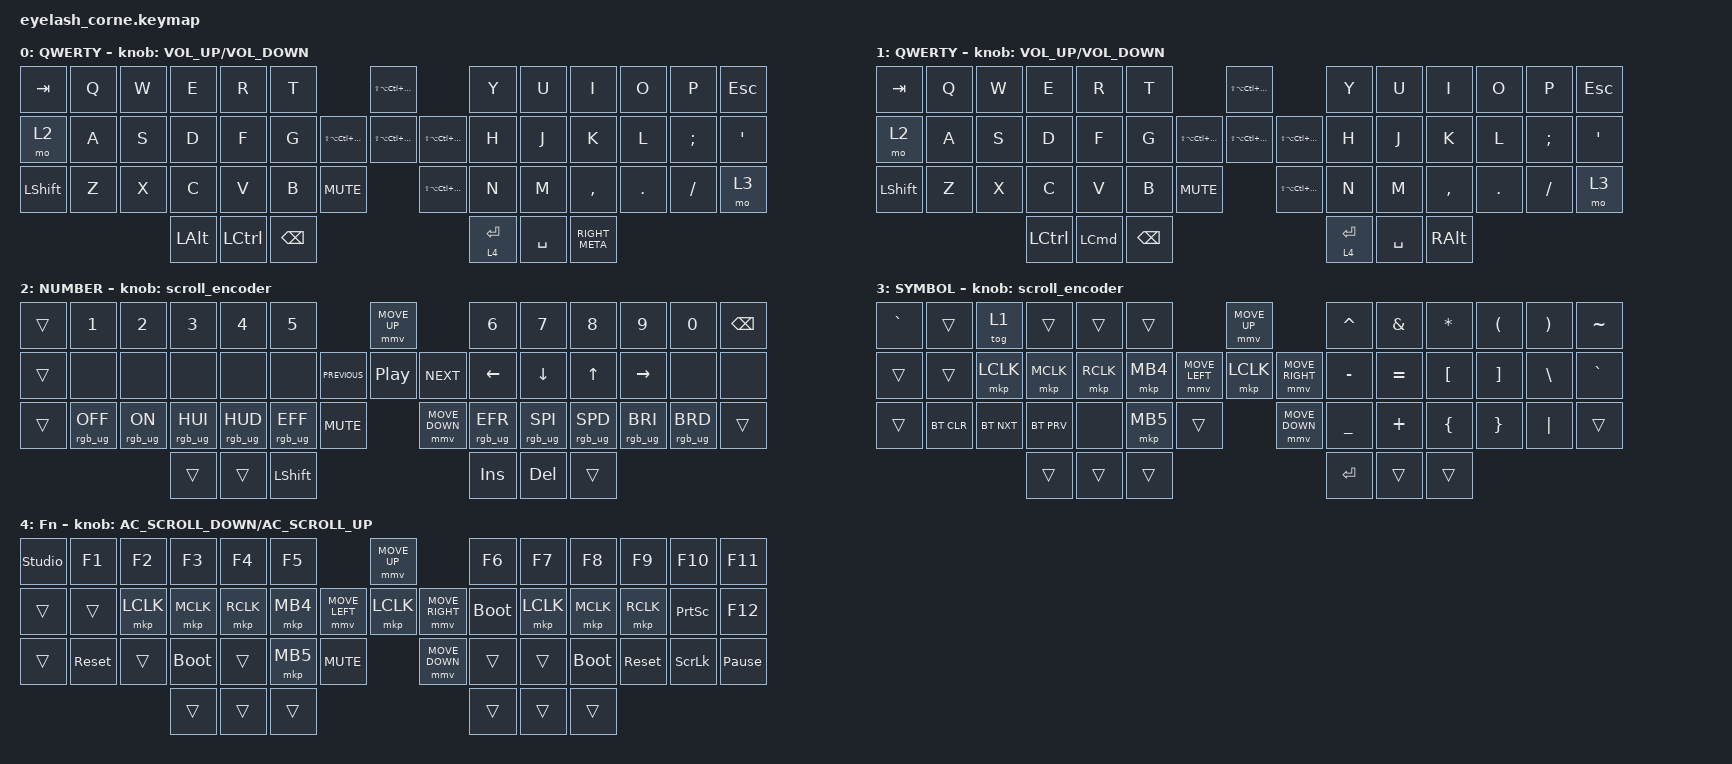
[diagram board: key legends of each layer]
#include <dt-bindings/zmk/mouse.h>
#include <input/processors.dtsi>
#include <behaviors.dtsi>
#include <dt-bindings/zmk/bt.h>
#include <dt-bindings/zmk/keys.h>
#include <dt-bindings/zmk/pointing.h>
#include <dt-bindings/zmk/rgb.h>

/*

   &mmv_input_listener {
       input-processors = <&zip_xy_scaler 2 1>;
   };

   &msc_input_listener {
       input-processors = <&zip_xy_scaler 2 1>;
   };

 */

#define ZMK_MOUSE_DEFAULT_MOVE_VAL 1200  // 600
#define ZMK_MOUSE_DEFAULT_SCRL_VAL 20    // 10

/ {
    behaviors {
        td0: td0 {
            compatible = "zmk,behavior-tap-dance";
            display-name = "Shift/Caps Lock Tap Dance";
            #binding-cells = <0>;
            bindings = <&kp LEFT_SHIFT>, <&kp CAPS>;
        };
    };

    rgb_encoder: rgb_encoder {
        compatible = "zmk,behavior-sensor-rotate";
        #sensor-binding-cells = <0>;
        bindings = <&rgb_ug RGB_BRI>, <&rgb_ug RGB_BRD>;
    };

    scroll_encoder: scroll_encoder {
        compatible = "zmk,behavior-sensor-rotate";
        #sensor-binding-cells = <0>;
        bindings = <&msc SCRL_DOWN>, <&msc SCRL_UP>;

        tap-ms = <30>;
    };

    macros {
        hyperkey1: hyperkey1 {
            compatible = "zmk,behavior-macro";
            #binding-cells = <0>;
            bindings = <&kp LS(LA(LC(LG(F1))))>;
            label = "HYPERKEY1";
        };
    };

    combos {
        compatible = "zmk,combos";

        macwin {
            bindings = <&tog 1>;
            key-positions = <41 1>;
        };
    };

    keymap {
        compatible = "zmk,keymap";

        mac {
            display-name = "QWERTY";
            bindings = <
&kp TAB         &kp Q  &kp W  &kp E         &kp R             &kp T                                                &kp LS(LA(LC(LG(F5))))                           &kp Y        &kp U      &kp I           &kp O    &kp P     &kp ESCAPE
&mo 2           &kp A  &kp S  &kp D         &kp F             &kp G                        &kp LS(LA(LC(LG(F2))))  &kp LS(LA(LC(LG(F1))))  &kp LS(LA(LC(LG(F16))))  &kp H        &kp J      &kp K           &kp L    &kp SEMI  &kp SQT
&kp LEFT_SHIFT  &kp Z  &kp X  &kp C         &kp V             &kp B          &kp C_MUTE                            &kp LS(LA(LC(LG(F4))))                           &kp N        &kp M      &kp COMMA       &kp DOT  &kp FSLH  &mo 3
                              &kp LEFT_ALT  &kp LEFT_CONTROL  &kp BACKSPACE                                                                                         &lt 4 ENTER  &kp SPACE  &kp RIGHT_META
            >;

            sensor-bindings = <&inc_dec_kp C_VOLUME_UP C_VOLUME_DOWN>;
        };

        windows {
            display-name = "QWERTY";
            bindings = <
&kp TAB         &kp Q  &kp W  &kp E             &kp R             &kp T                                                &kp LS(LA(LC(LG(F5))))                           &kp Y        &kp U      &kp I          &kp O    &kp P     &kp ESCAPE
&mo 2           &kp A  &kp S  &kp D             &kp F             &kp G                        &kp LS(LA(LC(LG(F2))))  &kp LS(LA(LC(LG(F1))))  &kp LS(LA(LC(LG(F16))))  &kp H        &kp J      &kp K          &kp L    &kp SEMI  &kp SQT
&kp LEFT_SHIFT  &kp Z  &kp X  &kp C             &kp V             &kp B          &kp C_MUTE                            &kp LS(LA(LC(LG(F4))))                           &kp N        &kp M      &kp COMMA      &kp DOT  &kp FSLH  &mo 3
                              &kp LEFT_CONTROL  &kp LEFT_COMMAND  &kp BACKSPACE                                                                                         &lt 4 ENTER  &kp SPACE  &kp RIGHT_ALT
            >;

            sensor-bindings = <&inc_dec_kp C_VOLUME_UP C_VOLUME_DOWN>;
        };

        nums {
            display-name = "NUMBER";
            bindings = <
&trans  &kp NUMBER_1     &kp N2          &kp N3           &kp N4           &kp N5                                         &mmv MOVE_UP                  &kp N6           &kp N7           &kp N8           &kp N9           &kp N0           &kp BSPC
&trans  &none            &none           &none            &none            &none                          &kp C_PREVIOUS  &kp C_PLAY_PAUSE  &kp C_NEXT  &kp LEFT         &kp DOWN         &kp UP_ARROW     &kp RIGHT        &none            &none
&trans  &rgb_ug RGB_OFF  &rgb_ug RGB_ON  &rgb_ug RGB_HUI  &rgb_ug RGB_HUD  &rgb_ug RGB_EFF  &kp C_MUTE                    &mmv MOVE_DOWN                &rgb_ug RGB_EFR  &rgb_ug RGB_SPI  &rgb_ug RGB_SPD  &rgb_ug RGB_BRI  &rgb_ug RGB_BRD  &trans
                                         &trans           &trans           &kp LEFT_SHIFT                                                               &kp INS          &kp DEL          &trans
            >;

            sensor-bindings = <&scroll_encoder>;
        };

        symbols {
            display-name = "SYMBOL";
            bindings = <
&kp GRAVE  &trans      &tog 1      &trans      &trans     &trans                              &mmv MOVE_UP                     &kp CARET  &kp AMPS   &kp ASTRK  &kp LPAR  &kp RPAR  &kp TILDE
&trans     &trans      &mkp LCLK   &mkp MCLK   &mkp RCLK  &mkp MB4            &mmv MOVE_LEFT  &mkp LCLK       &mmv MOVE_RIGHT  &kp MINUS  &kp EQUAL  &kp LBKT   &kp RBKT  &kp BSLH  &kp GRAVE
&trans     &bt BT_CLR  &bt BT_NXT  &bt BT_PRV  &none      &mkp MB5  &trans                    &mmv MOVE_DOWN                   &kp UNDER  &kp PLUS   &kp LBRC   &kp RBRC  &kp PIPE  &trans
                                   &trans      &trans     &trans                                                               &kp RET    &trans     &trans
            >;

            sensor-bindings = <&scroll_encoder>;
        };

        functions {
            display-name = "Fn";
            bindings = <
&studio_unlock  &kp F1      &kp F2     &kp F3       &kp F4     &kp F5                                  &mmv MOVE_UP                     &kp F6       &kp F7     &kp F8       &kp F9      &kp F10          &kp F11
&trans          &trans      &mkp LCLK  &mkp MCLK    &mkp RCLK  &mkp MB4                &mmv MOVE_LEFT  &mkp LCLK       &mmv MOVE_RIGHT  &bootloader  &mkp LCLK  &mkp MCLK    &mkp RCLK   &kp PRINTSCREEN  &kp F12
&trans          &sys_reset  &trans     &bootloader  &trans     &mkp MB5  &kp C_MUTE                    &mmv MOVE_DOWN                   &trans       &trans     &bootloader  &sys_reset  &kp SCROLLLOCK   &kp PAUSE_BREAK
                                       &trans       &trans     &trans                                                                   &trans       &trans     &trans
            >;

            sensor-bindings = <&inc_dec_kp C_AC_SCROLL_DOWN C_AC_SCROLL_UP>;
        };
    };
};
